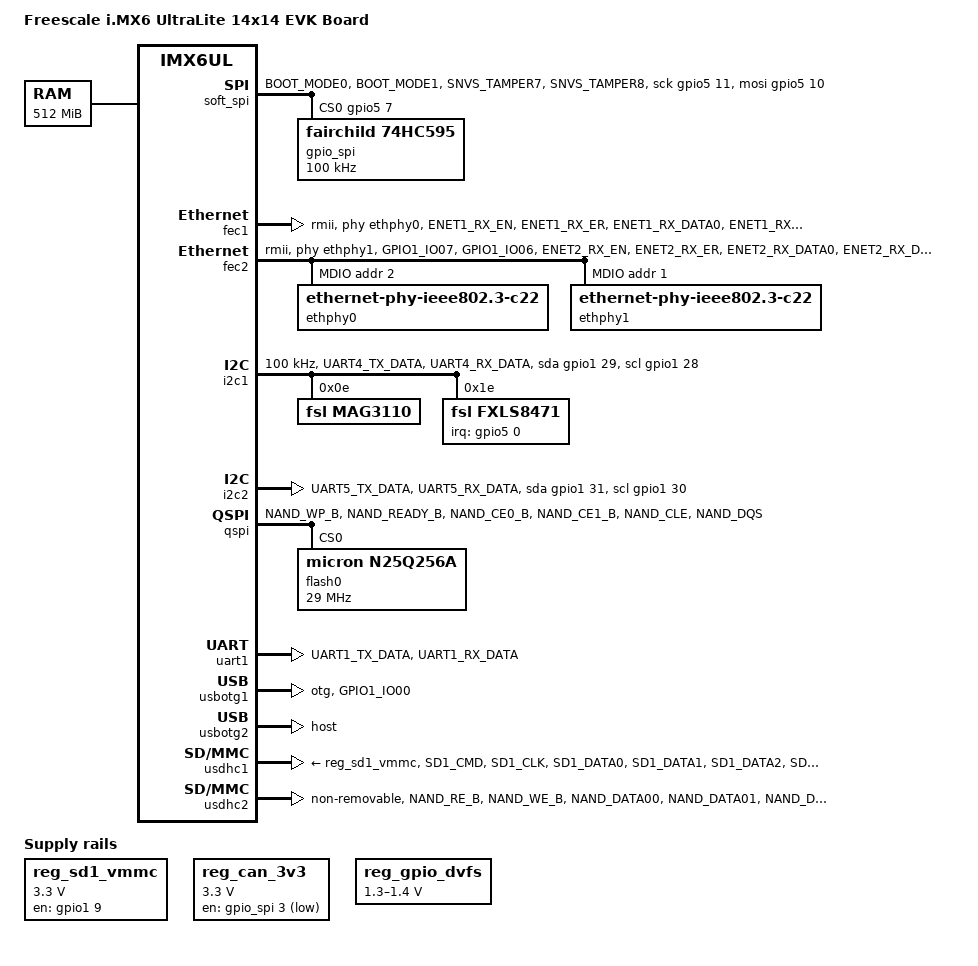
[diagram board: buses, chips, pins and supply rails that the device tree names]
// SPDX-License-Identifier: GPL-2.0+
/*
 * Copyright (C) 2015 Freescale Semiconductor, Inc.
 * Copyright 2017-2018 NXP
 */

/dts-v1/;

#include "imx6ul.dtsi"

/ {
	model = "Freescale i.MX6 UltraLite 14x14 EVK Board";
	compatible = "fsl,imx6ul-14x14-evk", "fsl,imx6ul";

	aliases {
		spi5 = &soft_spi;
	};

	chosen {
		stdout-path = &uart1;
	};

	memory {
		reg = <0x80000000 0x20000000>;
	};

	regulators {
		compatible = "simple-bus";
		#address-cells = <1>;
		#size-cells = <0>;

		reg_sd1_vmmc: regulator@1 {
			compatible = "regulator-fixed";
			regulator-name = "VSD_3V3";
			regulator-min-microvolt = <3300000>;
			regulator-max-microvolt = <3300000>;
			gpio = <&gpio1 9 GPIO_ACTIVE_HIGH>;
			off-on-delay = <20000>;
			enable-active-high;
		};

		reg_can_3v3: regulator@0 {
			compatible = "regulator-fixed";
			reg = <0>;
			regulator-name = "can-3v3";
			regulator-min-microvolt = <3300000>;
			regulator-max-microvolt = <3300000>;
			gpios = <&gpio_spi 3 GPIO_ACTIVE_LOW>;
		};

		reg_gpio_dvfs: regulator-gpio {
			compatible = "regulator-gpio";
			pinctrl-names = "default";
			pinctrl-0 = <&pinctrl_dvfs>;
			regulator-min-microvolt = <1300000>;
			regulator-max-microvolt = <1400000>;
			regulator-name = "gpio_dvfs";
			regulator-type = "voltage";
			gpios = <&gpio5 3 GPIO_ACTIVE_HIGH>;
			states = <1300000 0x1 1400000 0x0>;
		};
	};

	soft_spi: soft-spi {
		compatible = "spi-gpio";
		pinctrl-names = "default";
		pinctrl-0 = <&pinctrl_spi4>;
		pinctrl-assert-gpios = <&gpio5 8 GPIO_ACTIVE_LOW>;
		status = "okay";
		gpio-sck = <&gpio5 11 0>;
		gpio-mosi = <&gpio5 10 0>;
		cs-gpios = <&gpio5 7 0>;
		num-chipselects = <1>;
		#address-cells = <1>;
		#size-cells = <0>;

		gpio_spi: gpio_spi@0 {
			compatible = "fairchild,74hc595";
			gpio-controller;
			#gpio-cells = <2>;
			reg = <0>;
			registers-number = <1>;
			registers-default = /bits/ 8 <0x57>;
			spi-max-frequency = <100000>;
		};
	};
};

&fec1 {
	pinctrl-names = "default";
	pinctrl-0 = <&pinctrl_enet1>;
	phy-mode = "rmii";
	phy-handle = <&ethphy0>;
	status = "okay";
};

&fec2 {
	pinctrl-names = "default";
	pinctrl-0 = <&pinctrl_enet2>;
	phy-mode = "rmii";
	phy-handle = <&ethphy1>;
	status = "okay";

	mdio {
		#address-cells = <1>;
		#size-cells = <0>;

		ethphy0: ethernet-phy@2 {
			compatible = "ethernet-phy-ieee802.3-c22";
			reg = <2>;
		};

		ethphy1: ethernet-phy@1 {
			compatible = "ethernet-phy-ieee802.3-c22";
			reg = <1>;
		};
	};
};

&i2c1 {
	clock-frequency = <100000>;
	pinctrl-names = "default", "gpio";
	pinctrl-0 = <&pinctrl_i2c1>;
	pinctrl-1 = <&pinctrl_i2c1_gpio>;
	scl-gpios = <&gpio1 28 GPIO_ACTIVE_HIGH>;
	sda-gpios = <&gpio1 29 GPIO_ACTIVE_HIGH>;
	status = "okay";

	mag3110@0e {
		compatible = "fsl,mag3110";
		reg = <0x0e>;
		position = <2>;
	};

	fxls8471@1e {
		compatible = "fsl,fxls8471";
		reg = <0x1e>;
		position = <0>;
		interrupt-parent = <&gpio5>;
		interrupts = <0 8>;
	};
};

&i2c2 {
	clock_frequency = <100000>;
	pinctrl-names = "default", "gpio";
	pinctrl-0 = <&pinctrl_i2c2>;
	pinctrl-1 = <&pinctrl_i2c2_gpio>;
	scl-gpios = <&gpio1 30 GPIO_ACTIVE_HIGH>;
	sda-gpios = <&gpio1 31 GPIO_ACTIVE_HIGH>;
	status = "okay";
};

&iomuxc {
	pinctrl-names = "default";
	pinctrl-0 = <&pinctrl_hog_1>;
	imx6ul-evk {
		pinctrl_hog_1: hoggrp-1 {
			fsl,pins = <
				MX6UL_PAD_UART1_RTS_B__GPIO1_IO19	0x17059 /* SD1 CD */
				MX6UL_PAD_GPIO1_IO05__USDHC1_VSELECT	0x17059 /* SD1 VSELECT */
				MX6UL_PAD_GPIO1_IO09__GPIO1_IO09        0x17059 /* SD1 RESET */
				MX6UL_PAD_SNVS_TAMPER0__GPIO5_IO00	0x80000000
			>;
		};

		pinctrl_dvfs: dvfsgrp {
			fsl,pins = <
				MX6UL_PAD_SNVS_TAMPER3__GPIO5_IO03	0x79
			>;
		};

		pinctrl_enet1: enet1grp {
			fsl,pins = <
				MX6UL_PAD_ENET1_RX_EN__ENET1_RX_EN	0x1b0b0
				MX6UL_PAD_ENET1_RX_ER__ENET1_RX_ER	0x1b0b0
				MX6UL_PAD_ENET1_RX_DATA0__ENET1_RDATA00	0x1b0b0
				MX6UL_PAD_ENET1_RX_DATA1__ENET1_RDATA01	0x1b0b0
				MX6UL_PAD_ENET1_TX_EN__ENET1_TX_EN	0x1b0b0
				MX6UL_PAD_ENET1_TX_DATA0__ENET1_TDATA00	0x1b0b0
				MX6UL_PAD_ENET1_TX_DATA1__ENET1_TDATA01	0x1b0b0
				MX6UL_PAD_ENET1_TX_CLK__ENET1_REF_CLK1	0x4001b031
			>;
		};

		pinctrl_enet2: enet2grp {
			fsl,pins = <
				MX6UL_PAD_GPIO1_IO07__ENET2_MDC		0x1b0b0
				MX6UL_PAD_GPIO1_IO06__ENET2_MDIO	0x1b0b0
				MX6UL_PAD_ENET2_RX_EN__ENET2_RX_EN	0x1b0b0
				MX6UL_PAD_ENET2_RX_ER__ENET2_RX_ER	0x1b0b0
				MX6UL_PAD_ENET2_RX_DATA0__ENET2_RDATA00	0x1b0b0
				MX6UL_PAD_ENET2_RX_DATA1__ENET2_RDATA01	0x1b0b0
				MX6UL_PAD_ENET2_TX_EN__ENET2_TX_EN	0x1b0b0
				MX6UL_PAD_ENET2_TX_DATA0__ENET2_TDATA00	0x1b0b0
				MX6UL_PAD_ENET2_TX_DATA1__ENET2_TDATA01	0x1b0b0
				MX6UL_PAD_ENET2_TX_CLK__ENET2_REF_CLK2	0x4001b031
			>;
		};

		pinctrl_i2c1: i2c1grp {
			fsl,pins = <
				MX6UL_PAD_UART4_TX_DATA__I2C1_SCL 0x4001b8b0
				MX6UL_PAD_UART4_RX_DATA__I2C1_SDA 0x4001b8b0
			>;
		};

		pinctrl_i2c1_gpio: i2c1grp_gpio {
			fsl,pins = <
				MX6UL_PAD_UART4_TX_DATA__GPIO1_IO28 0x1b8b0
				MX6UL_PAD_UART4_RX_DATA__GPIO1_IO29 0x1b8b0
			>;
		};

		pinctrl_i2c2: i2c2grp {
			fsl,pins = <
				MX6UL_PAD_UART5_TX_DATA__I2C2_SCL 0x4001b8b0
				MX6UL_PAD_UART5_RX_DATA__I2C2_SDA 0x4001b8b0
			>;
		};

		pinctrl_i2c2_gpio: i2c2grp_gpio {
			fsl,pins = <
				MX6UL_PAD_UART5_TX_DATA__GPIO1_IO30 0x1b8b0
				MX6UL_PAD_UART5_RX_DATA__GPIO1_IO31 0x1b8b0
			>;
		};

		pinctrl_qspi: qspigrp {
			fsl,pins = <
				MX6UL_PAD_NAND_WP_B__QSPI_A_SCLK      0x70a1
				MX6UL_PAD_NAND_READY_B__QSPI_A_DATA00 0x70a1
				MX6UL_PAD_NAND_CE0_B__QSPI_A_DATA01   0x70a1
				MX6UL_PAD_NAND_CE1_B__QSPI_A_DATA02   0x70a1
				MX6UL_PAD_NAND_CLE__QSPI_A_DATA03     0x70a1
				MX6UL_PAD_NAND_DQS__QSPI_A_SS0_B      0x70a1
			>;
		};

		pinctrl_spi4: spi4grp {
			fsl,pins = <
				MX6UL_PAD_BOOT_MODE0__GPIO5_IO10	0x70a1
				MX6UL_PAD_BOOT_MODE1__GPIO5_IO11	0x70a1
				MX6UL_PAD_SNVS_TAMPER7__GPIO5_IO07	0x70a1
				MX6UL_PAD_SNVS_TAMPER8__GPIO5_IO08	0x80000000
			>;
		};

		pinctrl_uart1: uart1grp {
			fsl,pins = <
				MX6UL_PAD_UART1_TX_DATA__UART1_DCE_TX 0x1b0b1
				MX6UL_PAD_UART1_RX_DATA__UART1_DCE_RX 0x1b0b1
			>;
		};

		pinctrl_usb_otg1_id: usbotg1idgrp {
			fsl,pins = <
				MX6UL_PAD_GPIO1_IO00__ANATOP_OTG1_ID    0x17059
			>;
		};

		pinctrl_usdhc1: usdhc1grp {
			fsl,pins = <
				MX6UL_PAD_SD1_CMD__USDHC1_CMD     0x17059
				MX6UL_PAD_SD1_CLK__USDHC1_CLK     0x10071
				MX6UL_PAD_SD1_DATA0__USDHC1_DATA0 0x17059
				MX6UL_PAD_SD1_DATA1__USDHC1_DATA1 0x17059
				MX6UL_PAD_SD1_DATA2__USDHC1_DATA2 0x17059
				MX6UL_PAD_SD1_DATA3__USDHC1_DATA3 0x17059
			>;
		};

		pinctrl_usdhc1_100mhz: usdhc1grp100mhz {
			fsl,pins = <
				MX6UL_PAD_SD1_CMD__USDHC1_CMD     0x170b9
				MX6UL_PAD_SD1_CLK__USDHC1_CLK     0x100b9
				MX6UL_PAD_SD1_DATA0__USDHC1_DATA0 0x170b9
				MX6UL_PAD_SD1_DATA1__USDHC1_DATA1 0x170b9
				MX6UL_PAD_SD1_DATA2__USDHC1_DATA2 0x170b9
				MX6UL_PAD_SD1_DATA3__USDHC1_DATA3 0x170b9
			>;
		};

		pinctrl_usdhc1_200mhz: usdhc1grp200mhz {
			fsl,pins = <
				MX6UL_PAD_SD1_CMD__USDHC1_CMD     0x170f9
				MX6UL_PAD_SD1_CLK__USDHC1_CLK     0x100f9
				MX6UL_PAD_SD1_DATA0__USDHC1_DATA0 0x170f9
				MX6UL_PAD_SD1_DATA1__USDHC1_DATA1 0x170f9
				MX6UL_PAD_SD1_DATA2__USDHC1_DATA2 0x170f9
				MX6UL_PAD_SD1_DATA3__USDHC1_DATA3 0x170f9
			>;
		};

		pinctrl_usdhc2: usdhc2grp {
			fsl,pins = <
				MX6UL_PAD_NAND_RE_B__USDHC2_CLK     0x10069
				MX6UL_PAD_NAND_WE_B__USDHC2_CMD     0x17059
				MX6UL_PAD_NAND_DATA00__USDHC2_DATA0 0x17059
				MX6UL_PAD_NAND_DATA01__USDHC2_DATA1 0x17059
				MX6UL_PAD_NAND_DATA02__USDHC2_DATA2 0x17059
				MX6UL_PAD_NAND_DATA03__USDHC2_DATA3 0x17059
			>;
		};

		pinctrl_usdhc2_8bit: usdhc2grp_8bit {
			fsl,pins = <
				MX6UL_PAD_NAND_RE_B__USDHC2_CLK     0x10069
				MX6UL_PAD_NAND_WE_B__USDHC2_CMD     0x17059
				MX6UL_PAD_NAND_DATA00__USDHC2_DATA0 0x17059
				MX6UL_PAD_NAND_DATA01__USDHC2_DATA1 0x17059
				MX6UL_PAD_NAND_DATA02__USDHC2_DATA2 0x17059
				MX6UL_PAD_NAND_DATA03__USDHC2_DATA3 0x17059
				MX6UL_PAD_NAND_DATA04__USDHC2_DATA4 0x17059
				MX6UL_PAD_NAND_DATA05__USDHC2_DATA5 0x17059
				MX6UL_PAD_NAND_DATA06__USDHC2_DATA6 0x17059
				MX6UL_PAD_NAND_DATA07__USDHC2_DATA7 0x17059
			>;
		};

		pinctrl_usdhc2_8bit_100mhz: usdhc2grp_8bit_100mhz {
			fsl,pins = <
				MX6UL_PAD_NAND_RE_B__USDHC2_CLK     0x100b9
				MX6UL_PAD_NAND_WE_B__USDHC2_CMD     0x170b9
				MX6UL_PAD_NAND_DATA00__USDHC2_DATA0 0x170b9
				MX6UL_PAD_NAND_DATA01__USDHC2_DATA1 0x170b9
				MX6UL_PAD_NAND_DATA02__USDHC2_DATA2 0x170b9
				MX6UL_PAD_NAND_DATA03__USDHC2_DATA3 0x170b9
				MX6UL_PAD_NAND_DATA04__USDHC2_DATA4 0x170b9
				MX6UL_PAD_NAND_DATA05__USDHC2_DATA5 0x170b9
				MX6UL_PAD_NAND_DATA06__USDHC2_DATA6 0x170b9
				MX6UL_PAD_NAND_DATA07__USDHC2_DATA7 0x170b9
			>;
		};

		pinctrl_usdhc2_8bit_200mhz: usdhc2grp_8bit_200mhz {
			fsl,pins = <
				MX6UL_PAD_NAND_RE_B__USDHC2_CLK     0x100f9
				MX6UL_PAD_NAND_WE_B__USDHC2_CMD     0x170f9
				MX6UL_PAD_NAND_DATA00__USDHC2_DATA0 0x170f9
				MX6UL_PAD_NAND_DATA01__USDHC2_DATA1 0x170f9
				MX6UL_PAD_NAND_DATA02__USDHC2_DATA2 0x170f9
				MX6UL_PAD_NAND_DATA03__USDHC2_DATA3 0x170f9
				MX6UL_PAD_NAND_DATA04__USDHC2_DATA4 0x170f9
				MX6UL_PAD_NAND_DATA05__USDHC2_DATA5 0x170f9
				MX6UL_PAD_NAND_DATA06__USDHC2_DATA6 0x170f9
				MX6UL_PAD_NAND_DATA07__USDHC2_DATA7 0x170f9
			>;
		};
		pinctrl_wdog: wdoggrp {
			fsl,pins = <
				MX6UL_PAD_LCD_RESET__WDOG1_WDOG_ANY    0x30b0
			>;
		};
	};
};

&qspi {
	pinctrl-names = "default";
	pinctrl-0 = <&pinctrl_qspi>;
	status = "okay";
	ddrsmp=<0>;

	flash0: n25q256a@0 {
		#address-cells = <1>;
		#size-cells = <1>;
		compatible = "micron,n25q256a";
		spi-max-frequency = <29000000>;
		spi-nor,ddr-quad-read-dummy = <6>;
		reg = <0>;
	};
};

&uart1 {
	pinctrl-names = "default";
	pinctrl-0 = <&pinctrl_uart1>;
	status = "okay";
};

&usbotg1 {
	pinctrl-names = "default";
	pinctrl-0 = <&pinctrl_usb_otg1_id>;
	dr_mode = "otg";
	srp-disable;
	hnp-disable;
	adp-disable;
	status = "okay";
};

&usbotg2 {
	dr_mode = "host";
	disable-over-current;
	status = "okay";
};

&usbphy1 {
	tx-d-cal = <0x5>;
};

&usbphy2 {
	tx-d-cal = <0x5>;
};

&usdhc1 {
	pinctrl-names = "default", "state_100mhz", "state_200mhz";
	pinctrl-0 = <&pinctrl_usdhc1>;
	pinctrl-1 = <&pinctrl_usdhc1_100mhz>;
	pinctrl-2 = <&pinctrl_usdhc1_200mhz>;
	cd-gpios = <&gpio1 19 GPIO_ACTIVE_LOW>;
	keep-power-in-suspend;
	wakeup-source;
	vmmc-supply = <&reg_sd1_vmmc>;
	status = "okay";
};

&usdhc2 {
	pinctrl-names = "default";
	pinctrl-0 = <&pinctrl_usdhc2>;
	non-removable;
	status = "okay";
};

&wdog1 {
	pinctrl-names = "default";
	pinctrl-0 = <&pinctrl_wdog>;
	fsl,ext-reset-output;
};
